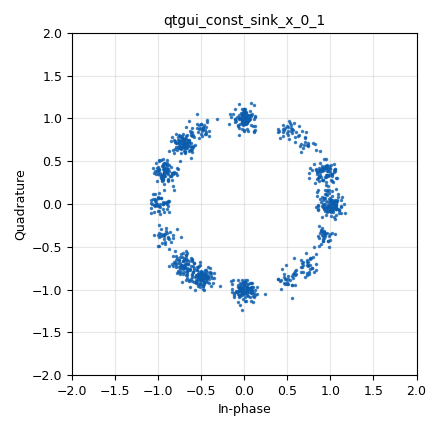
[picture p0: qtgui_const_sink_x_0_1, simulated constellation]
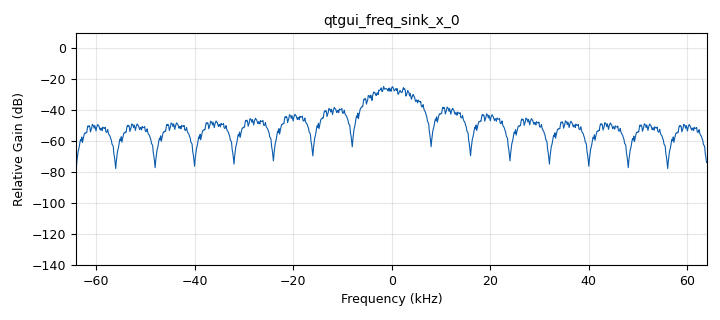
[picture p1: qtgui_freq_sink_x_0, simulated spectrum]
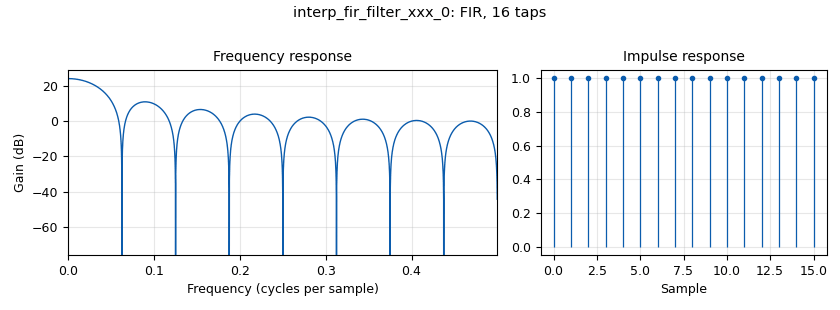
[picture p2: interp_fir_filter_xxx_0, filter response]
options:
  parameters:
    author: MANUEL_VALENTINA
    generate_options: qt_gui
    id: MPSK
    output_language: python
    title: MPSK
  states: {}

blocks:
- name: Constelacion
  id: variable
  parameters:
    value: (1 + 0j, 0.9239 + 0.3826j, 0.7071 + 0.7071j, 0.5091 + 0.866j,0 - 1j, -0.5091 + 0.866j,-0.7071 + 0.7071j, -0.9239 + 0.3826j,-1 + 0j, -0.9239 - 0.3826j,-0.7071 - 0.7071j, -0.5091 - 0.866j,0 + 1j, 0.5091 - 0.866j,0.7071 - 0.7071j, 0.9239 - 0.3826j)
  states: {}
- name: M
  id: variable
  parameters:
    value: '16'
  states: {}
- name: Nbps
  id: variable
  parameters:
    value: int(math.log(M,2))
  states: {}
- name: Rb
  id: variable
  parameters:
    value: '32000'
  states: {}
- name: Rs
  id: variable
  parameters:
    value: Rb/Nbps
  states: {}
- name: Sps
  id: variable
  parameters:
    value: len(h)
  states: {}
- name: h
  id: variable
  parameters:
    value: (1,1,1,1,1,1,1,1,1,1,1,1,1,1,1,1)
  states: {}
- name: samp_rate
  id: variable
  parameters:
    value: Rs*Sps
  states: {}
- name: analog_const_source_x_1
  id: analog_const_source_x
  parameters:
    const: '1'
    type: float
  states: {state: disabled}
- name: analog_noise_source_x_0
  id: analog_noise_source_x
  parameters:
    amp: '0.1'
    noise_type: analog.GR_GAUSSIAN
    seed: '0'
    type: complex
  states: {}
- name: analog_random_source_x_0
  id: analog_random_source_x
  parameters:
    max: '2'
    min: '0'
    num_samps: '1000000'
    repeat: 'True'
    type: byte
  states: {}
- name: blocks_add_xx_0
  id: blocks_add_xx
  parameters:
    type: complex
  states: {}
- name: blocks_char_to_float_0
  id: blocks_char_to_float
  parameters:
    scale: '1'
  states: {state: disabled}
- name: blocks_char_to_float_0_0
  id: blocks_char_to_float
  parameters:
    scale: '1'
  states: {state: disabled}
- name: blocks_char_to_float_0_0_0
  id: blocks_char_to_float
  parameters:
    scale: '1'
  states: {state: disabled}
- name: blocks_multiply_const_vxx_0
  id: blocks_multiply_const_vxx
  parameters:
    const: 2*math.pi/M
    type: float
  states: {state: disabled}
- name: blocks_null_sink_0
  id: blocks_null_sink
  parameters:
    type: complex
  states: {}
- name: blocks_repack_bits_bb_0
  id: blocks_repack_bits_bb
  parameters:
    endianness: gr.GR_LSB_FIRST
    k: '1'
    l: Nbps
  states: {}
- name: blocks_throttle_0
  id: blocks_throttle
  parameters:
    samples_per_second: samp_rate
    type: complex
  states: {}
- name: digital_chunks_to_symbols_xx_0
  id: digital_chunks_to_symbols_xx
  parameters:
    dimension: '1'
    in_type: byte
    out_type: complex
    symbol_table: Constelacion
  states: {}
- name: epy_block_0_0
  id: epy_block
  parameters:
    _source_code: |
      import numpy as np
      from gnuradio import gr
      import math

      class blk(gr.sync_block):  
          """This block is a CE VCO or baseband VCO and works as following: ….."""

          def __init__(self,):  
              gr.sync_block.__init__(
                  self,
                  name='VCO_CMLP',   
                  in_sig=[np.float32, np.float32],
                  out_sig=[np.complex64]
              )
              
          def work(self, input_items, output_items):
              Q=input_items[0]
              A=input_items[1]
              y=output_items[0]
              N=len(A)
              y[:]=A*np.exp(1j*Q)
              return len(y)
  states: {state: disabled}
- name: import_0_0
  id: import
  parameters:
    imports: import numpy as np
  states: {}
- name: import_1
  id: import
  parameters:
    imports: import math
  states: {}
- name: interp_fir_filter_xxx_0
  id: interp_fir_filter_xxx
  parameters:
    interp: Sps
    taps: h
    type: ccc
  states: {}
- name: note_0
  id: note
  parameters:
    note: 'Diagramas de instrumentacion para visualizacion de la señal, en primera instancia se tiene un bloque empaquetador el cual me indica cual es el numero de bits por simbolo transmitido (Nbps) correspondiente al valor entero mas cercano del logaritmo en base 2 del valor M-ario del envìo de datos. usando un bloque chat to floar para convertit esa tasa aleatoria de valores binarios a un valor flotante y este pueda ser procesado por el bloque QT GUI TIME SINK. En segunda instancia tenemos un bloque time sink para mostrar la señal aleatoria '
  states: {}
- name: qtgui_const_sink_x_0_0
  id: qtgui_const_sink_x
  parameters:
    size: '1024'
    type: complex
  states: {state: disabled}
- name: qtgui_const_sink_x_0_1
  id: qtgui_const_sink_x
  parameters:
    size: '1024'
    type: complex
  states: {}
- name: qtgui_freq_sink_x_0
  id: qtgui_freq_sink_x
  parameters:
    average: '0.05'
    bw: samp_rate
    fc: '0'
    fftsize: '1024'
    type: complex
  states: {}
- name: qtgui_time_sink_x_0
  id: qtgui_time_sink_x
  parameters:
    marker1: '0'
    size: int(32/Nbps)
    srate: Rs
    stemplot: 'True'
    type: float
    width1: '2'
    ylabel: Tasa de bit empaquetado
  states: {state: disabled}
- name: qtgui_time_sink_x_0_0
  id: qtgui_time_sink_x
  parameters:
    marker1: '0'
    size: '1024'
    srate: Rs
    stemplot: 'True'
    type: float
    width1: '2'
    ylabel: 'señal aleatoria '
  states: {state: disabled}
- name: qtgui_time_sink_x_0_1
  id: qtgui_time_sink_x
  parameters:
    marker1: '0'
    size: int(32/Nbps)
    srate: Rs
    stemplot: 'True'
    type: float
    width1: '2'
    ylabel: M-PAM Conversion en fase
  states: {state: disabled}
- name: qtgui_time_sink_x_1
  id: qtgui_time_sink_x
  parameters:
    label1: Parte R de la EC
    label2: Parte I de la EC
    marker1: '0'
    marker2: '0'
    size: int(32/Nbps)
    srate: Rb
    stemplot: 'True'
    style1: '2'
    type: complex
    width1: '3'
    width2: '3'
  states: {state: disabled}
- name: qtgui_time_sink_x_1_0
  id: qtgui_time_sink_x
  parameters:
    color1: green
    label1: Parte R de la EC
    label2: Parte I de la EC
    marker1: '2'
    marker2: '0'
    size: int(32*Sps/Nbps)
    srate: samp_rate
    style1: '2'
    type: complex
    width1: '3'
    width2: '3'
  states: {state: disabled}
- name: qtgui_time_sink_x_1_0_0
  id: qtgui_time_sink_x
  parameters:
    color1: green
    label1: Parte R de la EC
    label2: Parte I de la EC
    marker1: '2'
    marker2: '0'
    size: int(32*Sps/Nbps)
    srate: samp_rate
    stemplot: 'True'
    style1: '2'
    type: complex
    width1: '3'
    width2: '3'
  states: {state: disabled}

connections:
- [analog_const_source_x_1, '0', epy_block_0_0, '1']
- [analog_noise_source_x_0, '0', blocks_add_xx_0, '1']
- [analog_noise_source_x_0, '0', qtgui_time_sink_x_1_0_0, '0']
- [analog_random_source_x_0, '0', blocks_char_to_float_0, '0']
- [analog_random_source_x_0, '0', blocks_repack_bits_bb_0, '0']
- [blocks_add_xx_0, '0', blocks_null_sink_0, '0']
- [blocks_add_xx_0, '0', qtgui_const_sink_x_0_1, '0']
- [blocks_char_to_float_0, '0', qtgui_time_sink_x_0_0, '0']
- [blocks_char_to_float_0_0, '0', qtgui_time_sink_x_0, '0']
- [blocks_char_to_float_0_0_0, '0', blocks_multiply_const_vxx_0, '0']
- [blocks_multiply_const_vxx_0, '0', epy_block_0_0, '0']
- [blocks_multiply_const_vxx_0, '0', qtgui_time_sink_x_0_1, '0']
- [blocks_repack_bits_bb_0, '0', blocks_char_to_float_0_0, '0']
- [blocks_repack_bits_bb_0, '0', blocks_char_to_float_0_0_0, '0']
- [blocks_repack_bits_bb_0, '0', digital_chunks_to_symbols_xx_0, '0']
- [blocks_throttle_0, '0', blocks_add_xx_0, '0']
- [digital_chunks_to_symbols_xx_0, '0', interp_fir_filter_xxx_0, '0']
- [epy_block_0_0, '0', interp_fir_filter_xxx_0, '0']
- [epy_block_0_0, '0', qtgui_time_sink_x_1, '0']
- [interp_fir_filter_xxx_0, '0', blocks_throttle_0, '0']
- [interp_fir_filter_xxx_0, '0', qtgui_const_sink_x_0_0, '0']
- [interp_fir_filter_xxx_0, '0', qtgui_freq_sink_x_0, '0']
- [interp_fir_filter_xxx_0, '0', qtgui_time_sink_x_1_0, '0']

metadata:
  file_format: 1
  grc_version: 3.10.9.2
